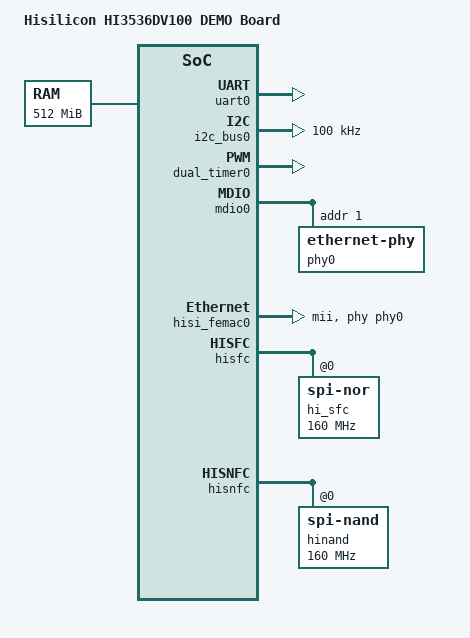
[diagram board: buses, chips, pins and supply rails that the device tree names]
/*
 * Copyright (c) 2013-2014 Linaro Ltd.
 * Copyright (c) 2015-2017 HiSilicon Technologies Co., Ltd.
 *
 * This program is free software; you can redistribute  it and/or modify it
 * under  the terms of  the GNU General  Public License as published by the
 * Free Software Foundation;  either version 2 of the  License, or (at your
 * option) any later version.
 *
 * This program is distributed in the hope that it will be useful,
 * but WITHOUT ANY WARRANTY; without even the implied warranty of
 * MERCHANTABILITY or FITNESS FOR A PARTICULAR PURPOSE. See the
 * GNU General Public License for more details.
 *
 * You should have received a copy of the GNU General Public License
 * along with this program.  If not, see <http://www.gnu.org/licenses/>.
 *
 */

/dts-v1/;
#include "hi3536dv100.dtsi"

/ {
	model = "Hisilicon HI3536DV100 DEMO Board";
	compatible = "hisilicon,hi3536dv100";

	memory {
		device_type = "memory";
		reg = <0x80000000 0x20000000>;
	};
};

&uart0 {
	status = "okay";
};

&i2c_bus0 {
    status = "okay";
    clock-frequency = <100000>;
};

&dual_timer0 {
	status = "okay";
};

&mdio0 {
	hisilicon,phy-reset-delays-us = <10000 20000 150000>;
	phy0: ethernet-phy@1 {
		reg = <1>;
	};
};

&hisi_femac0 {
	mac-address = [00 00 00 00 00 00];
	phy-mode = "mii";
	phy-handle = <&phy0>;
};

&hisfc {
	hi_sfc {
		   compatible = "jedec,spi-nor";
		   reg = <0>;
		   spi-max-frequency = <160000000>;
	};
};

&hisnfc {
	hinand {
		   compatible = "jedec,spi-nand";
		   reg = <0>;
		   spi-max-frequency = <160000000>;
	};
};

&hidmac {
	status = "okay";
};

&gpio_chip0 {
	status = "okay";
};

&gpio_chip1 {
	status = "okay";
};

&gpio_chip2 {
	status = "okay";
};

&gpio_chip3 {
	status = "okay";
};

&gpio_chip4 {
	status = "okay";
};

&gpio_chip5 {
	status = "okay";
};

&pmux {

	i2s1_pmux: i2s1_pmux {
		pinctrl-single,pins = <
			0x0070 0x2
			0x0078 0x2
			0x007c 0x2
			0x0090 0x2
			0x0094 0x2
		>;
	};
	i2s2_pmux: i2s2_pmux {
		pinctrl-single,pins = <
			0x0040 0x3 /*I2S_SD_RX*/
			0x0044 0x3 /*I2S_MCLK*/
			0x0048 0x3 /*I2S_WS*/
			0x004c 0x3 /*I2S_BCLK*/
			0x0050 0x3 /*I2S_SD_TX*/
		>;
	};
};

&sys_config_ctrl {
	padctrl-ability,demo = <
		0x120f08ac 0xb0
		0x120f08b4 0xb0
		0x120f08b8 0xb0
		0x120f08cc 0xb0
		0x120f08d0 0xb0
	>;
	padctrl-ability,sck = <
		0x120f0868 0x80
		0x120f086c 0xa0
		0x120f0870 0xa0
		0x120f0874 0xa0
		0x120f0878 0xa0
	>;
	sysctrl-ddr,pins = <
		0x12120078  0x55322100  /* JPGD - JPGE - TFE - VGS - VDH - A7 - VDP - AIAO */
		0x1212007c  0x65665526  /* FMC - DMA1 - DMA9 - DDRT - SATA - ETH1 - ETH0 - VOIE */
		0x12120080  0x66666666  /*     -      -      -      -      -      - CIPHER - USB */
		0x12120084  0x55522100  /* JPGD - JPGE - TFE - VGS - VDH - A7 - VDP - AIAO */
		0x12120088  0x65665526  /* FMC - DMA1 - DMA9 - DDRT - SATA - ETH1 - ETH0 - VOIE */
		0x1212008c  0x66626666  /*      -      -      -      -      -      - CIPHER - USB */
		0x12120094  0x10        /* aio_vdp_axi_pri*/
		0x12120090  0x80020000	/* aio_vdp_axi_timeout*/
		0x12110020  0x000fff01  /* AXI_ACTION[19:8]:wr_rcv_mode=0,12ports */
		0x12110200  0x00200000  /* ports0  */
		0x12110210  0x00300000  /* ports1  */
		0x12110220  0x00300000  /* ports2  */
		0x12110230  0x00300000  /* ports3  */
		0x12110240  0x00300000  /* ports4  */
		0x12110250  0x00300000  /* ports5  */
		0x12110260  0x00300000  /* ports6  */
		0x12110270  0x00300000  /* ports7  */
		0x12110204  0x76543210  /* ports0  */
		0x12110214  0x76543210  /* ports1  */
		0x12110224  0x76543210  /* ports2  */
		0x12110234  0x76543210	/* ports3	*/
		0x12110244  0x76543210  /* ports4	*/
		0x12110254  0x76543210  /* ports5   */
		0x12110264  0x76543210  /* ports6   */
		0x12110274  0x76543210  /* ports7   */
		0x12110208  0x76543210  /* ports0   */
		0x12110218  0x76543210  /* ports1   */
		0x12110228  0x76543210  /* ports2   */
		0x12110238  0x76543210  /* ports3   */
		0x12110248  0x76543210  /* ports4   */
		0x12110258  0x76543210  /* ports5   */
		0x12110268  0x76543210  /* ports6   */
		0x12110278  0x76543210  /* ports7   */
		0x12114000  0x00000002  /*qosb_push_ctrl  */
		0x1211410c  0x0000000a  /*qosb_dmc_lvl    */
		0x12114110  0x0000000a  /*qosb_dmc_lvl    */
		0x1211408c  0xb3032010  /*qosb_wbuf_ctrl  */
		0x12114090  0xb3032010  /*qosb_wbuf_ctrl   */
		0x121140f4  0x00000033  /*row-hit enable   */
		0x121140ec  0x00000044  /*row-hit          */
		0x121140f0  0x00003333  /*row-hit          */
		0x121141f4  0x00000000  /*qosb_wbuf_pri_ctrl*/
		0x121141f0  0x00000001  /*enable qosbuf timeout,through prilvl to remap timeout level*/
		0x1211409c  0x0000000a  /* wr_tout3 ~wr_tout0   */
		0x121140ac  0x0000000a  /* rd_tout3 ~rd_tout0   */
		0x121141f8  0x00800002  /* qosb_rhit_ctrl,open_window=128,close_window=2*/
	>;
	pinctrl-names = "demo", "sck", "default";
	pinctrl-0 = <&i2s1_pmux>;
	pinctrl-1 = <&i2s2_pmux>;
	pinctrl-2 = <>;
};
